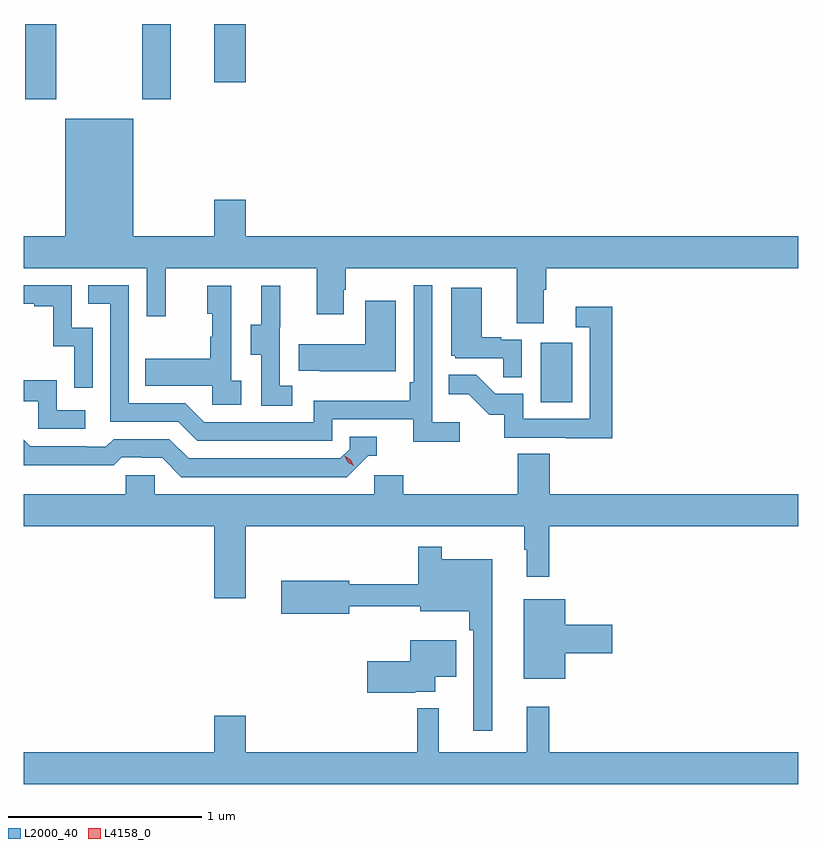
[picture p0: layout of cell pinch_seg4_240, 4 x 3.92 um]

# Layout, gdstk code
import gdstk
lib = gdstk.Library(unit=1e-6, precision=1e-09)
def R(c, l, rs):  # rectangles x0, y0, x1, y1
    for r in rs: c.add(gdstk.rectangle(r[:2], r[2:], *l))
def P(c, l, *ps):  # polygons
    for p in ps: c.add(gdstk.Polygon(p, *l))
L2000_40 = (2000, 40)
L4158_0 = (4158, 0)

pinch_seg4_240 = lib.new_cell('pinch_seg4_240')
R(pinch_seg4_240, L2000_40, [(897.962,818.772,898.126,819.079), (895.301,820.335,895.461,820.724), (895.906,820.335,896.053,820.724), (896.276,820.422,896.44,820.724)])
P(pinch_seg4_240, L2000_40, [(897.979,819.352),(897.992,819.352),(897.992,819.464),(899.293,819.464),(899.293,819.628),(896.44,819.628),(896.44,819.817),(896.276,819.817),(896.276,819.628),(895.858,819.628),(895.858,820.234),(895.508,820.234),(895.508,819.628),(895.293,819.628),(895.293,819.464),(895.929,819.464),(895.929,819.216),(896.027,819.216),(896.027,819.464),(896.807,819.464),(896.807,819.225),(896.947,819.225),(896.947,819.353),(896.955,819.353),(896.955,819.464),(897.839,819.464),(897.839,819.178),(897.979,819.178)],
  [(897.544,818.668),(897.402,818.668),(897.402,819.376),(897.306,819.376),(897.306,818.875),(897.286,818.875),(897.286,818.779),(896.79,818.779),(896.79,818.667),(896.226,818.667),(896.127,818.766),(895.836,818.766),(895.836,819.375),(895.627,819.375),(895.627,819.279),(895.74,819.279),(895.74,818.67),(896.09,818.67),(896.189,818.571),(896.886,818.571),(896.886,818.682),(897.305,818.682),(897.305,818.566),(897.544,818.566)],
  [(895.65,819.156),(895.542,819.156),(895.542,819.375),(895.293,819.375),(895.293,819.279),(895.349,819.279),(895.349,819.267),(895.445,819.267),(895.445,819.059),(895.554,819.059),(895.554,818.847),(895.65,818.847)],
  [(896.416,818.882),(896.364,818.882),(896.364,819.373),(896.24,819.373),(896.24,819.228),(896.266,819.228),(896.266,819.11),(896.256,819.11),(896.256,818.995),(895.921,818.995),(895.921,818.855),(896.268,818.855),(896.268,818.757),(896.416,818.757)],
  [(896.68,818.855),(896.616,818.855),(896.616,819.159),(896.618,819.159),(896.618,819.373),(896.519,819.373),(896.519,819.171),(896.465,819.171),(896.465,819.016),(896.52,819.016),(896.52,818.752),(896.68,818.752)],
  [(897.864,819.093),(897.758,819.093),(897.758,819.106),(897.658,819.106),(897.658,819.361),(897.5,819.361),(897.5,819.012),(897.522,819.012),(897.522,818.997),(897.769,818.997),(897.769,818.899),(897.864,818.899)],
  [(897.214,819.295),(897.056,819.295),(897.056,819.07),(896.713,819.07),(896.713,818.933),(896.821,818.933),(896.821,818.93),(897.214,818.93)],
  [(898.331,819.265),(898.143,819.265),(898.143,819.159),(898.215,819.159),(898.215,818.685),(897.873,818.685),(897.873,818.814),(897.729,818.814),(897.631,818.912),(897.487,818.912),(897.487,818.813),(897.591,818.813),(897.698,818.706),(897.775,818.706),(897.775,818.589),(898.093,818.589),(898.093,818.584),(898.331,818.584)],
  [(895.612,818.73),(895.464,818.73),(895.464,818.884),(895.293,818.884),(895.293,818.775),(895.368,818.775),(895.368,818.634),(895.612,818.634)],
  [(897.072,818.496),(897.115,818.496),(897.115,818.592),(896.976,818.592),(896.976,818.529),(896.928,818.481),(896.145,818.481),(896.046,818.58),(895.757,818.58),(895.718,818.541),(895.619,818.541),(895.619,818.544),(895.326,818.544),(895.293,818.577),(895.293,818.447),(895.524,818.447),(895.524,818.445),(895.757,818.445),(895.799,818.487),(895.902,818.487),(895.902,818.484),(896.009,818.484),(896.108,818.385),(896.961,818.385)],
  [(896.276,817.758),(896.44,817.758),(896.44,818.132),(897.879,818.132),(897.879,818.009),(897.89,818.009),(897.89,817.869),(898.007,817.869),(898.007,818.132),(899.293,818.132),(899.293,818.296),(898.01,818.296),(898.01,818.504),(897.845,818.504),(897.845,818.296),(897.254,818.296),(897.254,818.394),(897.102,818.394),(897.102,818.296),(895.971,818.296),(895.971,818.394),(895.821,818.394),(895.821,818.296),(895.293,818.296),(895.293,818.132),(896.276,818.132)],
  [(897.712,817.96),(897.451,817.96),(897.451,818.026),(897.33,818.026),(897.33,817.831),(896.974,817.831),(896.974,817.849),(896.622,817.849),(896.622,817.679),(896.974,817.679),(896.974,817.717),(897.341,817.717),(897.341,817.691),(897.595,817.691),(897.595,817.595),(897.615,817.595),(897.615,817.074),(897.712,817.074)],
  [(898.09,817.475),(898.333,817.475),(898.333,817.622),(898.09,817.622),(898.09,817.753),(897.875,817.753),(897.875,817.343),(898.09,817.343)],
  [(897.314,817.277),(897.418,817.277),(897.418,817.355),(897.526,817.355),(897.526,817.543),(897.29,817.543),(897.29,817.435),(897.066,817.435),(897.066,817.272),(897.314,817.272)],
  [(899.293,816.964),(898.007,816.964),(898.007,817.198),(897.89,817.198),(897.89,816.964),(897.437,816.964),(897.437,817.192),(897.324,817.192),(897.324,816.964),(896.44,816.964),(896.44,817.153),(896.276,817.153),(896.276,816.964),(895.293,816.964),(895.293,816.8),(899.293,816.8)])
P(pinch_seg4_240, L4158_0, [(896.998,818.442),(896.967,818.461),(896.951,818.494),(896.951,818.494),(896.951,818.494),(896.982,818.475),(896.998,818.442),(896.998,818.442)])

lib.write_gds('pinch_seg4_240.gds')
